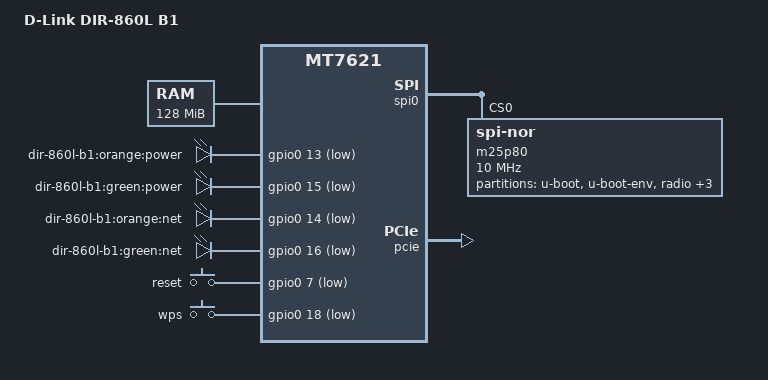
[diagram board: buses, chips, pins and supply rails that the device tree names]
/dts-v1/;

#include "mt7621.dtsi"

#include <dt-bindings/gpio/gpio.h>
#include <dt-bindings/input/input.h>

/ {
	compatible = "dlink,dir-860l-b1", "mediatek,mt7621-soc";
	model = "D-Link DIR-860L B1";

	aliases {
		led-boot = &led_power_green;
		led-failsafe = &led_power_green;
		led-running = &led_power_green;
		led-upgrade = &led_power_green;
	};

	memory@0 {
		device_type = "memory";
		reg = <0x0 0x8000000>;
	};

	chosen {
		bootargs = "console=ttyS0,57600";
	};

	gpio-leds {
		compatible = "gpio-leds";

		power {
			label = "dir-860l-b1:orange:power";
			gpios = <&gpio0 13 GPIO_ACTIVE_LOW>;
		};

		led_power_green: power2 {
			label = "dir-860l-b1:green:power";
			gpios = <&gpio0 15 GPIO_ACTIVE_LOW>;
		};

		net {
			label = "dir-860l-b1:orange:net";
			gpios = <&gpio0 14 GPIO_ACTIVE_LOW>;
		};

		net2 {
			label = "dir-860l-b1:green:net";
			gpios = <&gpio0 16 GPIO_ACTIVE_LOW>;
		};
	};

	gpio-keys-polled {
		compatible = "gpio-keys-polled";
		poll-interval = <20>;

		reset {
			label = "reset";
			gpios = <&gpio0 7 GPIO_ACTIVE_LOW>;
			linux,code = <KEY_RESTART>;
		};

		wps {
			label = "wps";
			gpios = <&gpio0 18 GPIO_ACTIVE_LOW>;
			linux,code = <KEY_WPS_BUTTON>;
		};
	};
};

&spi0 {
	status = "okay";

	m25p80@0 {
		compatible = "jedec,spi-nor";
		reg = <0>;
		spi-max-frequency = <10000000>;
		m25p,chunked-io = <32>;

		partitions {
			compatible = "fixed-partitions";
			#address-cells = <1>;
			#size-cells = <1>;

			partition@0 {
				label = "u-boot";
				reg = <0x0 0x30000>;
				read-only;
			};

			partition@30000 {
				label = "u-boot-env";
				reg = <0x30000 0x4000>;
				read-only;
			};

			radio: partition@34000 {
				label = "radio";
				reg = <0x34000 0x4000>;
				read-only;
			};

			factory: partition@38000 {
				label = "factory";
				reg = <0x38000 0x8000>;
				read-only;
			};

			partition@40000 {
				label = "defaults";
				reg = <0x40000 0x10000>;
				read-only;
			};

			partition@50000 {
				compatible = "seama";
				label = "firmware";
				reg = <0x50000 0xfb0000>;
			};
		};
	};
};

&pcie {
	status = "okay";
};

&pcie0 {
	mt76@0,0 {
		reg = <0x0000 0 0 0 0>;
		mediatek,mtd-eeprom = <&radio 0x2000>;
		ieee80211-freq-limit = <5000000 6000000>;
	};
};

&pcie1 {
	mt76@0,0 {
		reg = <0x0000 0 0 0 0>;
		mediatek,mtd-eeprom = <&radio 0>;
		ieee80211-freq-limit = <2400000 2500000>;
	};
};

&pinctrl {
	state_default: pinctrl0 {
		gpio {
			ralink,group = "i2c", "uart2", "uart3", "rgmii2", "sdhci";
			ralink,function = "gpio";
		};
	};
};
